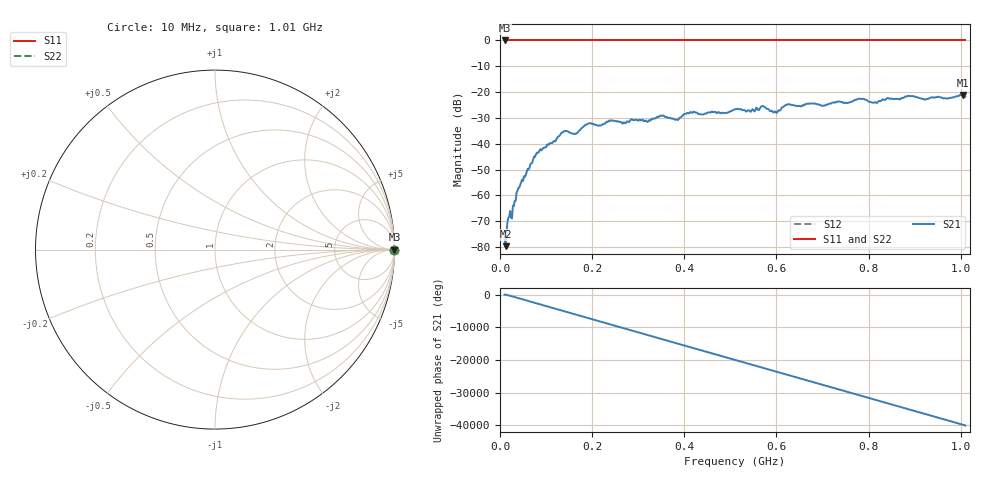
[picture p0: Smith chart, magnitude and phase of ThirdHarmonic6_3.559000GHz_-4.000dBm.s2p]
! 8/17/2025 11:45:53 AM
! C:\ANRITSUVNA\TEMP\TEMP.S2P
! CHANNEL.1
! TR.MEASUREMENT
! RAW.DATA
! RF.CORRECTION.OFF
! AVERAGING.OFF
! IF.BANDWIDTH: 5KHZ
! SWEEPTYPE:  FREQ.SWEEP(Linear)
! Reference Plane Port Info
! PORT:  PORT1  PORT2
! DISTANCE:  0  m  0  m
! TIME:  0  s  0  s
! PHASE.OFFSET:  0  deg.  0  deg.
! LOSS:  0  dB  0  dB
! REF.LOSS:  0  dB  0  dB
! REF.FREQ:  0  Hz  0  Hz
! Power Info
! POWER:  -20  dBm  -20  dBm
! EFF.POWER:  -20  dBm  -20  dBm
! SOURCE.ATTEN:  0  dB  0  dB
! TEST.ATTEN:  0  dB  0  dB
# GHZ S RI R 50.0
! FREQ.GHZ  S11RE  S11IM  S21RE  S21IM  S12RE  S12IM  S22RE  S22IM
!; PortSelection: Port_12
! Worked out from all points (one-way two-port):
!   501 points, 10 MHz to 1.01 GHz, reference 50 ohm
!   highest |S21| = -21.07 dB at 1.004 GHz (marker M1); lowest = -79.7 dB at 12 MHz (marker M2)
!   lowest |S11| = 0.0 dB at 10 MHz (marker M3)
!   |S11| at or under -10 dB: nowhere
!   |S22| runs from 0.0 to 0.0 dB; largest |S21 - S12| = 1.1
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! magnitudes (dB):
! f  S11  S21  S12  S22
! 10 MHz  0.0  -77.3  0.0  0.0
! 12 MHz  0.0  -79.7  0.0  0.0
! 18 MHz  0.0  -68.7  0.0  0.0
! 28 MHz  0.0  -64.0  0.0  0.0
! 40 MHz  0.0  -57.0  0.0  0.0
! 78 MHz  0.0  -44.1  0.0  0.0
! 136 MHz  0.0  -35.6  0.0  0.0
! 164 MHz  0.0  -36.2  0.0  0.0
! 178 MHz  0.0  -33.8  0.0  0.0
! 194 MHz  0.0  -32.0  0.0  0.0
! 322 MHz  0.0  -31.2  0.0  0.0
! 344 MHz  0.0  -29.6  0.0  0.0
! 384 MHz  0.0  -30.6  0.0  0.0
! 418 MHz  0.0  -28.0  0.0  0.0
! 510 MHz  0.0  -26.6  0.0  0.0
! 570 MHz  0.0  -25.4  0.0  0.0
! 598 MHz  0.0  -27.6  0.0  0.0
! 624 MHz  0.0  -24.8  0.0  0.0
! 678 MHz  0.0  -24.4  0.0  0.0
! 844 MHz  0.0  -22.5  0.0  0.0
! 1.004 GHz  0.0  -21.1  0.0  0.0
! 1.01 GHz  0.0  -21.8  0.0  0.0
